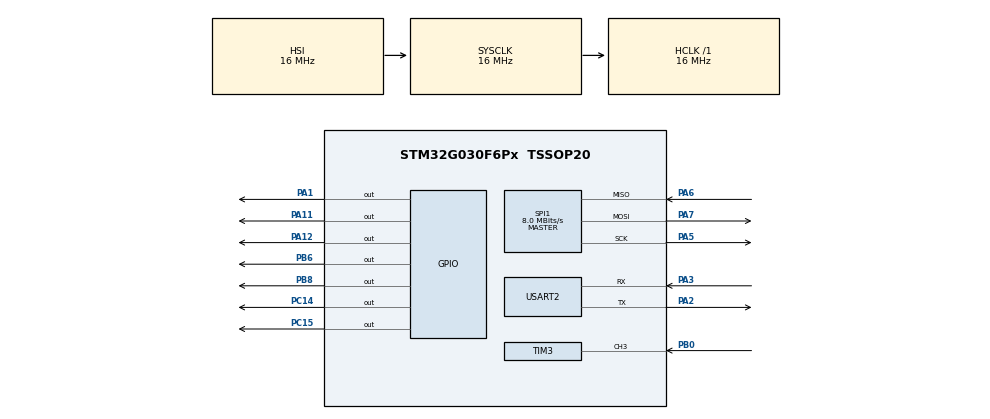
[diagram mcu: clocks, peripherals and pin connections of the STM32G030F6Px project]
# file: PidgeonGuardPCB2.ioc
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Mcu.Family=STM32G0
Mcu.Name=STM32G030F6Px
Mcu.Package=TSSOP20
PA0.Mode=SYS_WakeUp0
PA0.Signal=SYS_WKUP1
PA1.Signal=GPIO_Output
PA11\ [PA9].Signal=GPIO_Output
PA12\ [PA10].Signal=GPIO_Output
PA13.Mode=Serial_Wire
PA13.Signal=SYS_SWDIO
PA14-BOOT0.Mode=Serial_Wire
PA14-BOOT0.Signal=SYS_SWCLK
PA14-BOOT0__PA15.StandardMode=true
PA2.Mode=Asynchronous
PA2.Signal=USART2_TX
PA3.Mode=Asynchronous
PA3.Signal=USART2_RX
PA4.Signal=SPI1_NSS
PA5.Mode=Full_Duplex_Master
PA5.Signal=SPI1_SCK
PA6.Mode=Full_Duplex_Master
PA6.Signal=SPI1_MISO
PA7.Mode=Full_Duplex_Master
PA7.Signal=SPI1_MOSI
PB0.Signal=S_TIM3_CH3
PB0__PB1__PB2__PA8.StandardMode=true
PB3__PB4__PB5__PB6.StandardMode=true
PB6.Signal=GPIO_Output
PB7__PB8.StandardMode=true
PB8.Signal=GPIO_Output
PC14-OSC32_IN\ (PC14).Signal=GPIO_Output
PC14-OSC32_IN\ (PC14)__PB9.StandardMode=true
PC15-OSC32_OUT\ (PC15).Signal=GPIO_Output
ProjectManager.HeapSize=0x200
ProjectManager.StackSize=0x400
ProjectManager.TargetToolchain=STM32CubeIDE
RCC.ADCFreq_Value=16000000
RCC.AHBFreq_Value=16000000
RCC.CortexFreq_Value=16000000
RCC.EXTERNAL_CLOCK_VALUE=12288000
RCC.HCLKFreq_Value=16000000
RCC.HSE_VALUE=8000000
RCC.HSI_VALUE=16000000
RCC.SYSCLKFreq_VALUE=16000000
RCC.VCOOutputFreq_Value=128000000
SH.S_TIM3_CH3.0=TIM3_CH3,Input_Capture3_from_TI3
SPI1.CalculateBaudRate=8.0 MBits/s
SPI1.Direction=SPI_DIRECTION_2LINES
SPI1.Mode=SPI_MODE_MASTER
SPI1.VirtualType=VM_MASTER
TIM3.Channel-Input_Capture3_from_TI3=TIM_CHANNEL_3
USART2.VirtualMode-Asynchronous=VM_ASYNC
VP_FATFS_VS_Generic.Mode=User_defined
VP_RTC_VS_RTC_Activate.Mode=RTC_Enabled
board=custom

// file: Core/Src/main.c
/* USER CODE BEGIN Header */
/**
  ******************************************************************************
  * @file           : main.c
  * @brief          : Main program body
  ******************************************************************************
  * @attention
  *
  * Copyright (c) 2026 STMicroelectronics.
  * All rights reserved.
  *
  * This software is licensed under terms that can be found in the LICENSE file
  * in the root directory of this software component.
  * If no LICENSE file comes with this software, it is provided AS-IS.
  *
  ******************************************************************************
  */
/* USER CODE END Header */
#include "main.h"
#include "app_fatfs.h"
#include "stdio.h"

/* USER CODE BEGIN PD */
#define DEBUG_FLAG

#define TIM3_MAX_VALUE  0x0000FFFFU
#define LOGS_BUFFER_MAX_VALUE 26U

#define SMOTOR124_PORT GPIOA
#define SMOTOR3_PORT GPIOB
#define SMOTOR_INI1_PIN GPIO_PIN_11
#define SMOTOR_INI2_PIN GPIO_PIN_12
#define SMOTOR_INI3_PIN GPIO_PIN_7
#define SMOTOR_INI4_PIN GPIO_PIN_1

#define PUMP_PORT GPIOA
#define PUMP_PIN GPIO_PIN_14

#define HC_TRIG_PORT GPIOB
#define HC_TRIG_PIN GPIO_PIN_8

#define PWR_INIT_PORT GPIOC
#define PWR_INIT_PIN GPIO_PIN_14
/* USER CODE END PD */

RTC_HandleTypeDef hrtc;

SPI_HandleTypeDef hspi1;

TIM_HandleTypeDef htim3;

UART_HandleTypeDef huart2;

/* USER CODE BEGIN PV */
RTC_TimeTypeDef sTime;
RTC_DateTypeDef sDate;

/* USER CODE END PV */

void SystemClock_Config(void);
static void MX_GPIO_Init(void);
static void MX_SPI1_Init(void);
static void MX_USART2_UART_Init(void);
static void MX_RTC_Init(void);
static void MX_TIM3_Init(void);

static void peripheralsOn(void);
static void peripheralsOff(void);
static void sprayWater(void);

static void logToSD(char logBuffer[]);

static void controlSMotor(int32_t stepNumber, uint8_t direction);
static void startDistanceMeasurement(void);
static void scanRight(void);	// ???
static void scanLeft(void);	// ???
static void calibrateDistance(void);
static void lookForTarget(void);
static void calculateDistance(void);

/* USER CODE BEGIN 0 */
volatile uint32_t l_hcrs04Ticks1, l_hcrs04Ticks2;
volatile uint8_t l_hcrs04TimeCaptured = 0;
volatile uint32_t distance_L;

uint32_t mappedSourrounding[60];

FATFS FatFs;
FIL Fil;
FRESULT FR_Status;
FATFS *FS_Ptr;
UINT RWC, WWC; // Read/Write Word Counter
DWORD FreeClusters;
uint32_t TotalSize, FreeSpace;
char RW_Buffer[200];

/* USER CODE END 0 */

int main(void)
{

	for(volatile uint32_t i = 0; i < 160000000; i++); // Pseudo delay  before sys clk init to connect via SWD

  /* MCU Configuration--------------------------------------------------------*/

  /* Reset of all peripherals, Initializes the Flash interface and the Systick. */
	HAL_Init();

  /* Configure the system clock */
	SystemClock_Config();

  /* Initialize all configured peripherals */
	MX_GPIO_Init();
	MX_SPI1_Init();
	MX_USART2_UART_Init();
	if (MX_FATFS_Init() != APP_OK) {
	Error_Handler();
	}
	MX_RTC_Init();
	MX_TIM3_Init();
  /* USER CODE BEGIN 2 */

  // Enable interrupts for input capture timers for both HC-SR04
    HAL_TIM_IC_Start_IT(&htim3, TIM_CHANNEL_3);	// TODO: ten tim3?
    //HCSR04_Init(&htim3, GPIOC, GPIO_PIN_6);

    HAL_NVIC_EnableIRQ(TIM3_IRQn);

    HAL_PWR_EnableWakeUpPin(PWR_WAKEUP_PIN1_LOW);	// TODO: ten pin?

  /* USER CODE END 2 */

  /* Infinite loop */
  /* USER CODE BEGIN WHILE */
    uint8_t message[64];
    //SD_Card_Test();
    //HCSR04_Init(&htim3, GPIOC, GPIO_PIN_6);
  if(HAL_RTCEx_BKUPRead(&hrtc, RTC_BKP_DR1) != 0xBEEF){
    sTime.Hours = 21;
    sTime.Minutes = 37;
    sTime.Seconds = 0;

    HAL_RTC_SetTime(&hrtc, &sTime, RTC_FORMAT_BIN);

    sDate.WeekDay = RTC_WEEKDAY_MONDAY;
    sDate.Month = RTC_MONTH_APRIL;
    sDate.Date = 8;
    sDate.Year = 26;

    HAL_RTC_SetDate(&hrtc, &sDate, RTC_FORMAT_BIN);

    HAL_RTCEx_BKUPWrite(&hrtc, RTC_BKP_DR1, 0xBEEF);
  }

  peripheralsOn();
  HAL_Delay(10);	// wait for power to stabilize

  logToSD("WKUP:");
  calibrateDistance();	// TODO: Calibration should be done only once

  while (1)
  {
	  /*
	   * 	---- 1
	   * 	1) Power on
	   * 	2) Set STM RTC Time
	   * 	3) Powet on periferies
	   * 	4) Calibrate
	   * 	5) Save logs
	   * 	6) Check for target + shoot + loogs
	   * 	7) No target = power of periferies + STOP mode
	   * 	---- 2
	   * 	8) Power on Periferies
	   * 	9) Look for target
	   * 	10) Power of + STOP mode
	   *
	   */

	  	lookForTarget();

	  	__HAL_PWR_CLEAR_FLAG(PWR_FLAG_WUF1);
	  	__HAL_PWR_CLEAR_FLAG(PWR_FLAG_SB);

		logToSD("STOPMODE:");

		peripheralsOff();
		HAL_Delay(10);
	  	HAL_PWR_EnterSTANDBYMode();
    /* USER CODE END WHILE */

  }
}

void peripheralsOn(void){
	HAL_GPIO_WritePin(PWR_INIT_PORT, PWR_INIT_PIN, GPIO_PIN_SET);
	#ifndef DEBUG_FLAG
		sprintf((char*)message, "HIGH\n");
		HAL_UART_Transmit(&huart2, message, strlen((char*)message), 1000);
	#endif
}

void peripheralsOff(void){
	HAL_GPIO_WritePin(PWR_INIT_PORT, PWR_INIT_PIN, GPIO_PIN_RESET);
	#ifndef DEBUG_FLAG
		sprintf((char*)message, "LOW\n");
		HAL_UART_Transmit(&huart2, message, strlen((char*)message), 1000);
	#endif
}

void sprayWater(void){
	HAL_GPIO_TogglePin(PUMP_PORT, PUMP_PIN);
	HAL_Delay(50);
	HAL_GPIO_TogglePin(PUMP_PORT, PUMP_PIN);
}

void startDistanceMeasurement(){
	  HAL_GPIO_WritePin(HC_TRIG_PORT, HC_TRIG_PIN, GPIO_PIN_SET);
	  HAL_Delay(10);
	  HAL_GPIO_WritePin(HC_TRIG_PORT, HC_TRIG_PIN, GPIO_PIN_RESET);
}

void calculateDistance(){

	if(l_hcrs04Ticks2 > l_hcrs04Ticks1){
		distance_L = l_hcrs04Ticks2 - l_hcrs04Ticks1;
	} else {
		distance_L = TIM3_MAX_VALUE - (l_hcrs04Ticks1 - l_hcrs04Ticks2);
	}

	#ifndef DEBUG_FLAG
		sprintf((char*)message, "DIST: %lu\n", distance_L);
		HAL_UART_Transmit(&huart2, message, strlen((char*)message), 1000);
	#endif
}

void controlSMotor(int32_t stepNumber, uint8_t direction){
	int32_t stepsPerformed = 0;
	if(direction == 0){
		while(stepNumber > stepsPerformed){	//	Turn Right
		switch (stepsPerformed % 4) {
		      case 0:  // 1010
		        HAL_GPIO_WritePin(SMOTOR124_PORT, SMOTOR_INI1_PIN, GPIO_PIN_SET);
		        HAL_GPIO_WritePin(SMOTOR124_PORT, SMOTOR_INI2_PIN, GPIO_PIN_RESET);
		        HAL_GPIO_WritePin(SMOTOR3_PORT, SMOTOR_INI3_PIN, GPIO_PIN_SET);
		        HAL_GPIO_WritePin(SMOTOR124_PORT, SMOTOR_INI4_PIN, GPIO_PIN_RESET);
		      break;
		      case 1:  // 0110
		        HAL_GPIO_WritePin(SMOTOR124_PORT, SMOTOR_INI1_PIN, GPIO_PIN_RESET);
		        HAL_GPIO_WritePin(SMOTOR124_PORT, SMOTOR_INI2_PIN, GPIO_PIN_SET);
		        HAL_GPIO_WritePin(SMOTOR3_PORT, SMOTOR_INI3_PIN, GPIO_PIN_SET);
		        HAL_GPIO_WritePin(SMOTOR124_PORT, SMOTOR_INI4_PIN, GPIO_PIN_RESET);
		      break;
		      case 2:  //0101
		        HAL_GPIO_WritePin(SMOTOR124_PORT, SMOTOR_INI1_PIN, GPIO_PIN_RESET);
		        HAL_GPIO_WritePin(SMOTOR124_PORT, SMOTOR_INI2_PIN, GPIO_PIN_SET);
		        HAL_GPIO_WritePin(SMOTOR3_PORT, SMOTOR_INI3_PIN, GPIO_PIN_RESET);
		        HAL_GPIO_WritePin(SMOTOR124_PORT, SMOTOR_INI4_PIN, GPIO_PIN_SET);
		      break;
		      case 3:  //1001
		        HAL_GPIO_WritePin(SMOTOR124_PORT, SMOTOR_INI1_PIN, GPIO_PIN_SET);
		        HAL_GPIO_WritePin(SMOTOR124_PORT, SMOTOR_INI2_PIN, GPIO_PIN_RESET);
		        HAL_GPIO_WritePin(SMOTOR3_PORT, SMOTOR_INI3_PIN, GPIO_PIN_RESET);
		        HAL_GPIO_WritePin(SMOTOR124_PORT, SMOTOR_INI4_PIN, GPIO_PIN_SET);
		      break;
		    }
		stepsPerformed++;
		HAL_Delay(5);
		}
	} else{
		while(stepNumber > stepsPerformed){	//	Turn Left
			switch ( stepNumber % 4) {
		      case 0:  // 1010
		        HAL_GPIO_WritePin(SMOTOR124_PORT, SMOTOR_INI1_PIN, GPIO_PIN_SET);
		        HAL_GPIO_WritePin(SMOTOR124_PORT, SMOTOR_INI2_PIN, GPIO_PIN_RESET);
		        HAL_GPIO_WritePin(SMOTOR3_PORT, SMOTOR_INI3_PIN, GPIO_PIN_SET);
		        HAL_GPIO_WritePin(SMOTOR124_PORT, SMOTOR_INI4_PIN, GPIO_PIN_RESET);
		      break;
		      case 1:  // 0110
		        HAL_GPIO_WritePin(SMOTOR124_PORT, SMOTOR_INI1_PIN, GPIO_PIN_RESET);
		        HAL_GPIO_WritePin(SMOTOR124_PORT, SMOTOR_INI2_PIN, GPIO_PIN_SET);
		        HAL_GPIO_WritePin(SMOTOR3_PORT, SMOTOR_INI3_PIN, GPIO_PIN_SET);
		        HAL_GPIO_WritePin(SMOTOR124_PORT, SMOTOR_INI4_PIN, GPIO_PIN_RESET);
		      break;
		      case 2:  //0101
		        HAL_GPIO_WritePin(SMOTOR124_PORT, SMOTOR_INI1_PIN, GPIO_PIN_RESET);
		        HAL_GPIO_WritePin(SMOTOR124_PORT, SMOTOR_INI2_PIN, GPIO_PIN_SET);
		        HAL_GPIO_WritePin(SMOTOR3_PORT, SMOTOR_INI3_PIN, GPIO_PIN_RESET);
		        HAL_GPIO_WritePin(SMOTOR124_PORT, SMOTOR_INI4_PIN, GPIO_PIN_SET);
		      break;
		      case 3:  //1001
		        HAL_GPIO_WritePin(SMOTOR124_PORT, SMOTOR_INI1_PIN, GPIO_PIN_SET);
		        HAL_GPIO_WritePin(SMOTOR124_PORT, SMOTOR_INI2_PIN, GPIO_PIN_RESET);
		        HAL_GPIO_WritePin(SMOTOR3_PORT, SMOTOR_INI3_PIN, GPIO_PIN_RESET);
		        HAL_GPIO_WritePin(SMOTOR124_PORT, SMOTOR_INI4_PIN, GPIO_PIN_SET);
		      break;
			    }
			stepNumber--;
		HAL_Delay(5);
		}
	}
}

void calibrateDistance(){

	uint8_t oneStep = 12;
	uint8_t numberOfMeasurements = 60;

	startDistanceMeasurement();
	HAL_Delay(5);		// delay and second measurement to make sure that first measured value isn't trash
	startDistanceMeasurement();
	calculateDistance();
	mappedSourrounding[0] = distance_L;

	for(uint8_t i = 0; i < numberOfMeasurements; ){

		controlSMotor(oneStep, 0);

		startDistanceMeasurement();
		calculateDistance();
		i++;

		mappedSourrounding[i] = distance_L;
	}

	controlSMotor(720, 1); // Return to the max left side of sensor sight

	#ifndef DEBUG_FLAG
		sprintf((char*)message, "Calibration Completed.\n");
		HAL_UART_Transmit(&huart2, message, strlen((char*)message), 1000);
	#endif
}

void scanRight(){

}

void scanLeft(){

}

void lookForTarget(){
	uint8_t oneStep = 12;
	uint8_t numberOfMeasurements = 60;
	uint8_t measurementsTaken = 0;

	uint8_t logger = 0;

	for(uint8_t i = 0; i<4; i++ ){ // Repeat full scanning 4 times	// TODO: zamienić 4 na #define

		for(; measurementsTaken < numberOfMeasurements; ){

				startDistanceMeasurement();
				calculateDistance();

				uint32_t supposedValue = mappedSourrounding[measurementsTaken];

				controlSMotor(oneStep, 0);
				measurementsTaken++;

				logger = 0;

				while(distance_L + 1000 < supposedValue){	// TODO: zamienić 1000 na #define

					if(logger == 0){	// Save to logs that shooting happened
						logToSD("SHOOT:");
						logger = 1;
					}

					sprayWater();

					uint32_t lastDistance = distance_L;

					startDistanceMeasurement();
					calculateDistance();

					if(lastDistance - 70 > distance_L){

						lastDistance = distance_L;

						controlSMotor(oneStep, 0);
						sprayWater();
						startDistanceMeasurement();
						calculateDistance();

						measurementsTaken++;

					} else if(lastDistance + 70 < distance_L){	// TODO: zamienić 70 na #define

						lastDistance = distance_L;

						controlSMotor(oneStep, 1);
						sprayWater();

						startDistanceMeasurement();
						calculateDistance();

						measurementsTaken--;
					} else{
						// ERROR???
						// TODO: not an error just a target didn't move so repeat shooting - > return to the beginning of a while loop
					}
				}

			}

		if(measurementsTaken == 60){ // If sensor reached max right side turn direction // TODO: zamienić 60 na #define

			for(; measurementsTaken > 0; ){

				startDistanceMeasurement();
				calculateDistance();

				uint32_t supposedValue = mappedSourrounding[measurementsTaken];

				controlSMotor(oneStep, 1);
				measurementsTaken--;

				logger = 0;

				while(distance_L + 1000 < supposedValue){

					if(logger == 0){	// Save to logs that shooting happened
						logToSD("SHOOT:");
						logger = 1;
					}

					sprayWater();

					uint32_t lastDistance = distance_L;

					startDistanceMeasurement();
					calculateDistance();

					if(lastDistance - 70 > distance_L){

						lastDistance = distance_L;

						controlSMotor(oneStep, 1);
						sprayWater();

						startDistanceMeasurement();
						calculateDistance();

						measurementsTaken--;

					} else if(lastDistance < distance_L - 70){

						lastDistance = distance_L;

						controlSMotor(oneStep, 0);
						sprayWater();

						startDistanceMeasurement();
						calculateDistance();

						measurementsTaken++;
					} else{
						// ERROR???
					}
				}

			}
		}

		if(measurementsTaken > 60){
			measurementsTaken = 0;	// If some error appears and the function is stuck, zero the counter
		}

	}
}

void logToSD(char logBuffer[]){

	HAL_RTC_GetTime(&hrtc, &sTime, RTC_FORMAT_BIN);
	HAL_RTC_GetDate(&hrtc, &sDate, RTC_FORMAT_BIN);

	sprintf(RW_Buffer, "%s %02d-%02d-20%02d %02d:%02d:%02d\r\n", logBuffer,
	sDate.Date,
	sDate.Month,
	sDate.Year,
	sTime.Hours,
	sTime.Minutes,
	sTime.Seconds);

	FR_Status = f_mount(&FatFs, "", 1);

	#ifndef DEBUG_FLAG
	if (FR_Status != FR_OK)
	{
		sprintf((char*)message, "\r\nError! While Mounting SD Card, Error Code: (%i)\r\n", FR_Status);
		HAL_UART_Transmit(&huart2, message, strlen((char*)message), 1000);
	}
	#endif

	FR_Status = f_open(&Fil, "TextFileWrite.txt", FA_WRITE | FA_READ);

	#ifndef DEBUG_FLAG
	if (FR_Status != FR_OK)
	{
		sprintf((char*)message, "\r\nError! While Opening File: (%i)\r\n", FR_Status);
		HAL_UART_Transmit(&huart2, message, strlen((char*)message), 1000);
	}
	#endif

	f_lseek(&Fil, f_size(&Fil));
	f_puts(RW_Buffer, &Fil);
	f_close(&Fil);
	f_mount(NULL, "", 0);
}

void SystemClock_Config(void)
{
  RCC_OscInitTypeDef RCC_OscInitStruct = {0};
  RCC_ClkInitTypeDef RCC_ClkInitStruct = {0};

  /** Configure the main internal regulator output voltage
  */
  HAL_PWREx_ControlVoltageScaling(PWR_REGULATOR_VOLTAGE_SCALE1);

  /** Initializes the RCC Oscillators according to the specified parameters
  * in the RCC_OscInitTypeDef structure.
  */
  RCC_OscInitStruct.OscillatorType = RCC_OSCILLATORTYPE_HSI|RCC_OSCILLATORTYPE_LSI;
  RCC_OscInitStruct.HSIState = RCC_HSI_ON;
  RCC_OscInitStruct.HSIDiv = RCC_HSI_DIV1;
  RCC_OscInitStruct.HSICalibrationValue = RCC_HSICALIBRATION_DEFAULT;
  RCC_OscInitStruct.LSIState = RCC_LSI_ON;
  RCC_OscInitStruct.PLL.PLLState = RCC_PLL_NONE;
  if (HAL_RCC_OscConfig(&RCC_OscInitStruct) != HAL_OK)
  {
    Error_Handler();
  }

  /** Initializes the CPU, AHB and APB buses clocks
  */
  RCC_ClkInitStruct.ClockType = RCC_CLOCKTYPE_HCLK|RCC_CLOCKTYPE_SYSCLK
                              |RCC_CLOCKTYPE_PCLK1;
  RCC_ClkInitStruct.SYSCLKSource = RCC_SYSCLKSOURCE_HSI;
  RCC_ClkInitStruct.AHBCLKDivider = RCC_SYSCLK_DIV1;
  RCC_ClkInitStruct.APB1CLKDivider = RCC_HCLK_DIV1;

  if (HAL_RCC_ClockConfig(&RCC_ClkInitStruct, FLASH_LATENCY_0) != HAL_OK)
  {
    Error_Handler();
  }
}

static void MX_RTC_Init(void)
{

  /** Initialize RTC Only
  */
  hrtc.Instance = RTC;
  hrtc.Init.HourFormat = RTC_HOURFORMAT_24;
  hrtc.Init.AsynchPrediv = 127;
  hrtc.Init.SynchPrediv = 255;
  hrtc.Init.OutPut = RTC_OUTPUT_DISABLE;
  hrtc.Init.OutPutRemap = RTC_OUTPUT_REMAP_NONE;
  hrtc.Init.OutPutPolarity = RTC_OUTPUT_POLARITY_HIGH;
  hrtc.Init.OutPutType = RTC_OUTPUT_TYPE_OPENDRAIN;
  hrtc.Init.OutPutPullUp = RTC_OUTPUT_PULLUP_NONE;
  if (HAL_RTC_Init(&hrtc) != HAL_OK)
  {
    Error_Handler();
  }

}

static void MX_SPI1_Init(void)
{

  /* SPI1 parameter configuration*/
  hspi1.Instance = SPI1;
  hspi1.Init.Mode = SPI_MODE_MASTER;
  hspi1.Init.Direction = SPI_DIRECTION_2LINES;
  hspi1.Init.DataSize = SPI_DATASIZE_8BIT;
  hspi1.Init.CLKPolarity = SPI_POLARITY_LOW;
  hspi1.Init.CLKPhase = SPI_PHASE_1EDGE;
  hspi1.Init.NSS = SPI_NSS_SOFT;
  hspi1.Init.BaudRatePrescaler = SPI_BAUDRATEPRESCALER_2;
  hspi1.Init.FirstBit = SPI_FIRSTBIT_MSB;
  hspi1.Init.TIMode = SPI_TIMODE_DISABLE;
  hspi1.Init.CRCCalculation = SPI_CRCCALCULATION_DISABLE;
  hspi1.Init.CRCPolynomial = 7;
  hspi1.Init.CRCLength = SPI_CRC_LENGTH_DATASIZE;
  hspi1.Init.NSSPMode = SPI_NSS_PULSE_ENABLE;
  if (HAL_SPI_Init(&hspi1) != HAL_OK)
  {
    Error_Handler();
  }

}

static void MX_TIM3_Init(void)
{

  TIM_MasterConfigTypeDef sMasterConfig = {0};
  TIM_IC_InitTypeDef sConfigIC = {0};

  htim3.Instance = TIM3;
  htim3.Init.Prescaler = 0;
  htim3.Init.CounterMode = TIM_COUNTERMODE_UP;
  htim3.Init.Period = 65535;
  htim3.Init.ClockDivision = TIM_CLOCKDIVISION_DIV1;
  htim3.Init.AutoReloadPreload = TIM_AUTORELOAD_PRELOAD_DISABLE;
  if (HAL_TIM_IC_Init(&htim3) != HAL_OK)
  {
    Error_Handler();
  }
  sMasterConfig.MasterOutputTrigger = TIM_TRGO_RESET;
  sMasterConfig.MasterSlaveMode = TIM_MASTERSLAVEMODE_DISABLE;
  if (HAL_TIMEx_MasterConfigSynchronization(&htim3, &sMasterConfig) != HAL_OK)
  {
    Error_Handler();
  }
  sConfigIC.ICPolarity = TIM_INPUTCHANNELPOLARITY_RISING;
  sConfigIC.ICSelection = TIM_ICSELECTION_DIRECTTI;
  sConfigIC.ICPrescaler = TIM_ICPSC_DIV1;
  sConfigIC.ICFilter = 0;
  if (HAL_TIM_IC_ConfigChannel(&htim3, &sConfigIC, TIM_CHANNEL_3) != HAL_OK)
  {
    Error_Handler();
  }

}

static void MX_USART2_UART_Init(void)
{

  huart2.Instance = USART2;
  huart2.Init.BaudRate = 115200;
  huart2.Init.WordLength = UART_WORDLENGTH_8B;
  huart2.Init.StopBits = UART_STOPBITS_1;
  huart2.Init.Parity = UART_PARITY_NONE;
  huart2.Init.Mode = UART_MODE_TX_RX;
  huart2.Init.HwFlowCtl = UART_HWCONTROL_NONE;
  huart2.Init.OverSampling = UART_OVERSAMPLING_16;
  huart2.Init.OneBitSampling = UART_ONE_BIT_SAMPLE_DISABLE;
  huart2.Init.ClockPrescaler = UART_PRESCALER_DIV1;
  huart2.AdvancedInit.AdvFeatureInit = UART_ADVFEATURE_NO_INIT;
  if (HAL_UART_Init(&huart2) != HAL_OK)
  {
    Error_Handler();
  }

}

static void MX_GPIO_Init(void)
{
  GPIO_InitTypeDef GPIO_InitStruct = {0};

  /* GPIO Ports Clock Enable */
  __HAL_RCC_GPIOB_CLK_ENABLE();
  __HAL_RCC_GPIOC_CLK_ENABLE();
  __HAL_RCC_GPIOA_CLK_ENABLE();

  /*Configure GPIO pin Output Level */
  HAL_GPIO_WritePin(GPIOB, GPIO_PIN_8|GPIO_PIN_6, GPIO_PIN_RESET);

  /*Configure GPIO pin Output Level */
  HAL_GPIO_WritePin(GPIOC, GPIO_PIN_14|GPIO_PIN_15, GPIO_PIN_RESET);

  /*Configure GPIO pin Output Level */
  HAL_GPIO_WritePin(GPIOA, GPIO_PIN_1|GPIO_PIN_11|GPIO_PIN_12, GPIO_PIN_RESET);

  /*Configure GPIO pins : PB8 PB6 */
  GPIO_InitStruct.Pin = GPIO_PIN_8|GPIO_PIN_6;
  GPIO_InitStruct.Mode = GPIO_MODE_OUTPUT_PP;
  GPIO_InitStruct.Pull = GPIO_NOPULL;
  GPIO_InitStruct.Speed = GPIO_SPEED_FREQ_LOW;
  HAL_GPIO_Init(GPIOB, &GPIO_InitStruct);

  /*Configure GPIO pins : PC14 PC15 */
  GPIO_InitStruct.Pin = GPIO_PIN_14|GPIO_PIN_15;
  GPIO_InitStruct.Mode = GPIO_MODE_OUTPUT_PP;
  GPIO_InitStruct.Pull = GPIO_NOPULL;
  GPIO_InitStruct.Speed = GPIO_SPEED_FREQ_LOW;
  HAL_GPIO_Init(GPIOC, &GPIO_InitStruct);

  /*Configure GPIO pins : PA1 PA11 PA12 */
  GPIO_InitStruct.Pin = GPIO_PIN_1|GPIO_PIN_11|GPIO_PIN_12;
  GPIO_InitStruct.Mode = GPIO_MODE_OUTPUT_PP;
  GPIO_InitStruct.Pull = GPIO_NOPULL;
  GPIO_InitStruct.Speed = GPIO_SPEED_FREQ_LOW;
  HAL_GPIO_Init(GPIOA, &GPIO_InitStruct);

}

/* USER CODE BEGIN 4 */
//Timer input capture from HCSR04 sensors
void HAL_TIM_IC_CaptureCallback(TIM_HandleTypeDef *htim){

	// Left HCSR04 sensor response
	if (htim->Channel == HAL_TIM_ACTIVE_CHANNEL_3){	//CH3 = TIM2

	        if (l_hcrs04TimeCaptured == 0){	// First echo pin slope?
	        	l_hcrs04Ticks1 = HAL_TIM_ReadCapturedValue(htim, TIM_CHANNEL_3);	// capture sensor echo pin Rising Edge

	        	l_hcrs04TimeCaptured = 1;	// next time capture second echo pin slope
	            __HAL_TIM_SET_CAPTUREPOLARITY(htim, TIM_CHANNEL_3, TIM_INPUTCHANNELPOLARITY_FALLING);	// Set capturing Falling Edge
	        } else{

	        	l_hcrs04Ticks2 = HAL_TIM_ReadCapturedValue(htim, TIM_CHANNEL_3); // capture sensor echo pin Falling Edge

	        	l_hcrs04TimeCaptured = 0;	// next time capture first echo pin slope
	            __HAL_TIM_SET_CAPTUREPOLARITY(htim, TIM_CHANNEL_3, TIM_INPUTCHANNELPOLARITY_RISING);	// capture sensor echo pin Rising Edge
	        }
		}
}

/* USER CODE END 4 */

void Error_Handler(void)
{
  __disable_irq();
  while (1)
  {
  }
}
